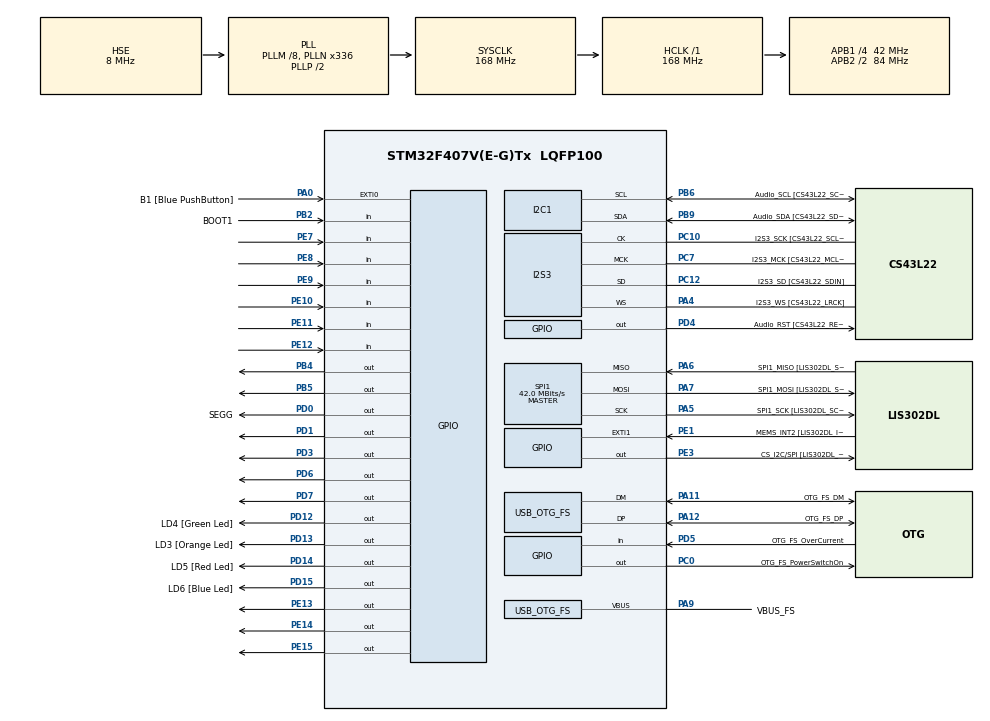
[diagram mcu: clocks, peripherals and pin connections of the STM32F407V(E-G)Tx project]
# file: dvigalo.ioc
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PA11.GPIO_Speed=GPIO_SPEED_FREQ_LOW
PD12.GPIO_Label=LD4 [Green Led]
PH0-OSC_IN.Signal=RCC_OSC_IN
PC10.GPIO_PuPd=GPIO_NOPULL
SPI1.VirtualType=VM_MASTER
PB10.GPIO_PuPd=GPIO_NOPULL
PA10.GPIO_PuPd=GPIO_NOPULL
PC12.Signal=I2S3_SD
PA14.GPIO_Label=SWCLK
PE8.GPIO_PuPd=GPIO_PULLDOWN
PE10.GPIO_PuPd=GPIO_PULLDOWN
PA6.GPIO_Label=SPI1_MISO [LIS302DL_SDO]
PB6.GPIO_Label=Audio_SCL [CS43L22_SCL]
PC15-OSC32_OUT.GPIO_Label=PC15-OSC32_OUT
PC3.GPIO_Speed=GPIO_SPEED_FREQ_LOW
RCC.SYSCLKSource=RCC_SYSCLKSOURCE_PLLCLK
PA6.GPIO_Mode=GPIO_MODE_AF_PP
PD14.GPIO_Speed=GPIO_SPEED_FREQ_LOW
PA4.Mode=Half_Duplex_Master
SPI1.Direction=SPI_DIRECTION_2LINES
I2S3.AudioFreq-Half_Duplex_Master=I2S_AUDIOFREQ_96K
PD4.Signal=GPIO_Output
RCC.APB2TimFreq_Value=168000000
PB6.Signal=I2C1_SCL
PC7.Signal=I2S3_MCK
PB6.Mode=I2C
SPI1.CalculateBaudRate=42.0 MBits/s
PC3.Signal=I2S2_SD
PD0.Signal=GPIO_Output
PE1.Signal=GPXTI1
USB_OTG_FS.phy_itface=HCD_PHY_EMBEDDED
PB2.Signal=GPIO_Input
I2S3.ErrorAudioFreq=-2.34 %
PE9.Signal=GPIO_Input
PA5.GPIO_PuPd=GPIO_NOPULL
I2S3.ErrorAudioFreq-Half_Duplex_Master=0.8 %
NVIC.TIM2_IRQn=true\:0\:0\:false\:false\:true\:true\:true
PD5.GPIO_Mode=GPIO_MODE_INPUT
PD14.GPIO_PuPd=GPIO_NOPULL
PE10.Signal=GPIO_Input
PB2.GPIO_PuPd=GPIO_NOPULL
SPI1.CalculateBaudRate-Full_Duplex_Master=42.0 MBits/s
Mcu.Package=LQFP100
PB9.Signal=I2C1_SDA
TIM2.Prescaler=250
PD12.Signal=GPIO_Output
PA10.Signal=USB_OTG_FS_ID
PB9.GPIO_PuPd=GPIO_NOPULL
RCC.APB2CLKDivider=RCC_HCLK_DIV2
RCC.APB1TimFreq_Value=84000000
PC12.GPIO_PuPd=GPIO_NOPULL
PA6.GPIO_Speed=GPIO_SPEED_FREQ_LOW
PA12.GPIO_PuPd=GPIO_NOPULL
PA4.GPIO_Label=I2S3_WS [CS43L22_LRCK]
PD15.Signal=GPIO_Output
PC0.PinState=GPIO_PIN_SET
PE12.GPIO_PuPd=GPIO_PULLDOWN
PA5.Mode=Full_Duplex_Master
I2S3.FullDuplexMode=I2S_FULLDUPLEXMODE_DISABLE
PA9.GPIO_Label=VBUS_FS
PB6.GPIO_PuPd=GPIO_NOPULL
PD3.Signal=GPIO_Output
PD7.Signal=GPIO_Output
PD1.Signal=GPIO_Output
PA11.GPIO_Label=OTG_FS_DM
PE1.GPIO_PuPd=GPIO_NOPULL
PC0.Signal=GPIO_Output
RCC.APB1CLKDivider=RCC_HCLK_DIV4
PC14-OSC32_IN.Signal=RCC_OSC32_IN
PA0-WKUP.GPIO_ModeDefaultEXTI=GPIO_MODE_EVT_RISING
PA0-WKUP.GPIO_Label=B1 [Blue PushButton]
PA0-WKUP.Signal=GPXTI0
USB_HOST0.BSP.STBoard=false
PC10.GPIO_Mode=GPIO_MODE_AF_PP
PB10.GPIO_Mode=GPIO_MODE_AF_PP
PA9.Signal=USB_OTG_FS_VBUS
I2S3.VirtualMode=I2S_MODE_MASTER
PC7.GPIO_PuPd=GPIO_NOPULL
PB10.Signal=I2S2_CK
PA5.Signal=SPI1_SCK
PC12.Mode=Half_Duplex_Master
PE1.GPIO_Label=MEMS_INT2 [LIS302DL_INT2]
USB_HOST.VirtualModeFS=Cdc
PA7.GPIO_Speed=GPIO_SPEED_FREQ_LOW
PB2.GPIO_Mode=GPIO_MODE_INPUT
PE14.Signal=GPIO_Output
PE15.Signal=GPIO_Output
PE8.Signal=GPIO_Input
SPI1.Mode=SPI_MODE_MASTER
PD4.GPIO_Speed=GPIO_SPEED_FREQ_LOW
PE3.GPIO_PuPd=GPIO_NOPULL
PH1-OSC_OUT.GPIO_Label=PH1-OSC_OUT
TIM2.Period=42000
PA13.Mode=Serial_Wire
PC7.GPIO_Label=I2S3_MCK [CS43L22_MCLK]
PA4.Signal=I2S3_WS
PC12.GPIO_Mode=GPIO_MODE_AF_PP
PB5.Signal=GPIO_Output
PA5.GPIO_Label=SPI1_SCK [LIS302DL_SCL/SPC]
PE3.GPIO_Speed=GPIO_SPEED_FREQ_LOW
PC12.GPIO_Label=I2S3_SD [CS43L22_SDIN]
PA11.Signal=USB_OTG_FS_DM
ProjectManager.HeapSize=0x200
NVIC.PriorityGroup=NVIC_PRIORITYGROUP_0
PE3.Signal=GPIO_Output
TIM2.AutoReloadPreload=TIM_AUTORELOAD_PRELOAD_ENABLE
PC3.GPIO_Label=PDM_OUT [MP45DT02_DOUT]
PA0-WKUP.GPIO_PuPd=GPIO_NOPULL
I2S3.Instance=SPI$Index
PB6.GPIO_Speed=GPIO_SPEED_FREQ_LOW
SPI1.BaudRatePrescaler-Full_Duplex_Master=SPI_BAUDRATEPRESCALER_2
USB_HOST0.BSP.mode=Output
Mcu.Family=STM32F4
PC3.GPIO_Mode=GPIO_MODE_AF_PP
PA6.Mode=Full_Duplex_Master
PE7.GPIO_PuPd=GPIO_PULLDOWN
RCC.CortexFreq_Value=168000000
PB10.GPIO_Speed=GPIO_SPEED_FREQ_LOW
PB6.GPIO_Mode=GPIO_MODE_AF_OD
PD15.GPIO_Speed=GPIO_SPEED_FREQ_LOW
PC10.Signal=I2S3_CK
PA7.GPIO_Mode=GPIO_MODE_AF_PP
PC0.GPIO_Label=OTG_FS_PowerSwitchOn
PD0.GPIO_Label=SEGG
PA11.Mode=Host_Only
PC10.GPIO_Speed=GPIO_SPEED_FREQ_LOW
PA11.GPIO_PuPd=GPIO_NOPULL
ProjectManager.StackSize=0x400
SPI1.Mode-Full_Duplex_Master=SPI_MODE_MASTER
PD13.Signal=GPIO_Output
PA12.Signal=USB_OTG_FS_DP
PE11.GPIO_PuPd=GPIO_PULLDOWN
RCC.HCLKFreq_Value=168000000
USB_HOST0.BSP.ip=GPIO
RCC.AHBFreq_Value=168000000
PH0-OSC_IN.Mode=HSE-External-Oscillator
PH0-OSC_IN.GPIO_Label=PH0-OSC_IN
PA9.GPIO_Mode=GPIO_MODE_INPUT
RCC.HSE_VALUE=8000000
PA4.GPIO_PuPd=GPIO_NOPULL
PA4.GPIO_Speed=GPIO_SPEED_FREQ_LOW
PA6.GPIO_PuPd=GPIO_NOPULL
PE13.Signal=GPIO_Output
PC14-OSC32_IN.Mode=LSE-External-Oscillator
PD0.PinState=GPIO_PIN_RESET
PA14.Mode=Serial_Wire
PA10.GPIO_Label=OTG_FS_ID
PC7.GPIO_Mode=GPIO_MODE_AF_PP
USB_HOST0.BSP.i2creg=0
PH1-OSC_OUT.Mode=HSE-External-Oscillator
USB_HOST0.BSP.i2caddr=0
PD13.GPIO_Label=LD3 [Orange Led]
PA6.Signal=SPI1_MISO
USB_HOST.USBH_HandleTypeDef-CDC_FS=hUsbHostFS
PD5.GPIO_Label=OTG_FS_OverCurrent
NVIC.OTG_FS_IRQn=true\:0\:0\:false\:false\:true\:true\:true
PD15.GPIO_PuPd=GPIO_NOPULL
USB_OTG_FS.VirtualMode=Host_Only
PA10.GPIO_Speed=GPIO_SPEED_FREQ_LOW
USB_HOST0.BSP.name=Drive_VBUS_FS
PB9.GPIO_Speed=GPIO_SPEED_FREQ_LOW
PC14-OSC32_IN.GPIO_Label=PC14-OSC32_IN
PE7.Signal=GPIO_Input
PC0.GPIO_PuPd=GPIO_NOPULL
PD6.Signal=GPIO_Output
PA12.GPIO_Speed=GPIO_SPEED_FREQ_LOW
PB4.Signal=GPIO_Output
PB3.GPIO_Label=SWO
PC15-OSC32_OUT.Mode=LSE-External-Oscillator
PD12.GPIO_Speed=GPIO_SPEED_FREQ_LOW
PD15.GPIO_Label=LD6 [Blue Led]
PA7.Mode=Full_Duplex_Master
PB9.GPIO_Label=Audio_SDA [CS43L22_SDA]
PC10.GPIO_Label=I2S3_SCK [CS43L22_SCLK]
USB_HOST0.BSP.solution=PC0
PC10.Mode=Half_Duplex_Master
USB_HOST.BSP.number=1
PD5.Signal=GPIO_Input
PE1.GPIO_ModeDefaultEXTI=GPIO_MODE_EVT_RISING
PA9.GPIO_PuPd=GPIO_NOPULL
PA12.GPIO_Label=OTG_FS_DP
PA10.GPIO_Mode=GPIO_MODE_AF_PP
PA13.Signal=SYS_JTMS-SWDIO
PD4.GPIO_PuPd=GPIO_NOPULL
PA9.Mode=Activate_VBUS
PC0.GPIO_Speed=GPIO_SPEED_FREQ_LOW
I2S3.RealAudioFreq-Half_Duplex_Master=96.774 KHz
ProjectManager.TargetToolchain=STM32CubeIDE
PB10.GPIO_Label=CLK_IN [MP45DT02_CLK]
PB9.Mode=I2C
PE11.Signal=GPIO_Input
PC15-OSC32_OUT.Signal=RCC_OSC32_OUT
PA7.GPIO_PuPd=GPIO_NOPULL
board=STM32F407G-DISC1
PD13.GPIO_Speed=GPIO_SPEED_FREQ_LOW
PC7.GPIO_Speed=GPIO_SPEED_FREQ_LOW
RCC.VCOOutputFreq_Value=336000000
PB9.GPIO_Mode=GPIO_MODE_AF_OD
PA12.GPIO_Mode=GPIO_MODE_AF_PP
PA4.GPIO_Mode=GPIO_MODE_AF_PP
RCC.APB2Freq_Value=84000000
USB_HOST0.BSP.api=Unknown
VP_TIM2_VS_ClockSourceINT.Mode=Internal
PD4.GPIO_Label=Audio_RST [CS43L22_RESET]
PH1-OSC_OUT.Signal=RCC_OSC_OUT
PD13.GPIO_PuPd=GPIO_NOPULL
PD5.GPIO_PuPd=GPIO_NOPULL
PD14.GPIO_Label=LD5 [Red Led]
Mcu.Name=STM32F407V(E-G)Tx
PE12.Signal=GPIO_Input
PA13.GPIO_Label=SWDIO
PD14.Signal=GPIO_Output
RCC.48MHZClocksFreq_Value=48000000
PB3.Signal=SYS_JTDO-SWO
RCC.SYSCLKFreq_VALUE=168000000
PA7.GPIO_Label=SPI1_MOSI [LIS302DL_SDA/SDI/SDO]
PA12.Mode=Host_Only
VP_USB_HOST_VS_USB_HOST_CDC_FS.Mode=CDC_FS
PA14.Signal=SYS_JTCK-SWCLK
PB2.GPIO_Label=BOOT1
RCC.HSI_VALUE=16000000
PA5.GPIO_Speed=GPIO_SPEED_FREQ_LOW
RCC.PLLQ=7
I2S3.RealAudioFreq=93.75 KHz
RCC.PLLM=8
RCC.PLLN=336
PE3.GPIO_Label=CS_I2C/SPI [LIS302DL_CS_I2C/SPI]
PC7.Mode=Master_Clock_Activated
PA11.GPIO_Mode=GPIO_MODE_AF_PP
RCC.APB1Freq_Value=42000000
PA5.GPIO_Mode=GPIO_MODE_AF_PP
PC12.GPIO_Speed=GPIO_SPEED_FREQ_LOW
PC3.GPIO_PuPd=GPIO_NOPULL
PD12.GPIO_PuPd=GPIO_NOPULL
PA7.Signal=SPI1_MOSI
USB_HOST0.BSP.instance=PC0
PE9.GPIO_PuPd=GPIO_PULLDOWN

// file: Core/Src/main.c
/* USER CODE BEGIN Header */
/**
  ******************************************************************************
  * @file           : main.c
  * @brief          : Main program body
  ******************************************************************************
  * @attention
  *
  * <h2><center>&copy; Copyright (c) 2021 STMicroelectronics.
  * All rights reserved.</center></h2>
  *
  * This software component is licensed by ST under Ultimate Liberty license
  * SLA0044, the "License"; You may not use this file except in compliance with
  * the License. You may obtain a copy of the License at:
  *                             www.st.com/SLA0044
  *
  ******************************************************************************
  */
/* USER CODE END Header */
#include "main.h"
#include "usb_host.h"

/* USER CODE BEGIN Includes */
#include <string.h>
#include <stdio.h>
/* USER CODE END Includes */

I2C_HandleTypeDef hi2c1;

I2S_HandleTypeDef hi2s3;

SPI_HandleTypeDef hspi1;

TIM_HandleTypeDef htim2;

/* USER CODE BEGIN PV */
static const uint8_t UNO_ADDR = 0x14 << 1; // naslov arduina 0x14, a uporabim 8bit naslov (shift)
uint8_t floorsGoingUp = 0;					// nadstropja, ki želijo gor
uint8_t floorsGoingDown = 0;				// nadstropja, ki želijo dol
int direction = 1;							// smer potovanja: -1 dol, 1 gor
uint8_t pos = 0;							// trenutno nadstropje dvigala
int openDoorsRequest = 0;							// zahteva za odprtje vrat
int closeDoorsRequest = 0;							// zahteva za zaprtje vrat
/* USER CODE END PV */

void SystemClock_Config(void);
static void MX_GPIO_Init(void);
static void MX_I2C1_Init(void);
static void MX_I2S3_Init(void);
static void MX_SPI1_Init(void);
static void MX_TIM2_Init(void);
void MX_USB_HOST_Process(void);

/* USER CODE BEGIN 0 */

// handlerji prekinitev časovnika
void HAL_TIM_PeriodElapsedCallback(TIM_HandleTypeDef* htim2)
{
	// handler za prekinitev časovnika vsakih 0.5s - komunikacija z arduinom
	HAL_StatusTypeDef ret;
	uint8_t buf[2];

	buf[0] = pos;
	// pošlji trenutno nadstropje in zahtevaj vrednost gumbov od Arduina
	ret = HAL_I2C_Master_Transmit(&hi2c1, UNO_ADDR, buf, 1, HAL_MAX_DELAY);
	if (ret == HAL_OK) {
		ret = HAL_I2C_Master_Receive(&hi2c1, UNO_ADDR, buf, 2, HAL_MAX_DELAY);
		if (ret == HAL_OK) {
			HAL_GPIO_TogglePin(GPIOD, GPIO_PIN_15);
			floorsGoingUp |= buf[0];
			floorsGoingDown |= buf[1];
		}
	}
}

// preveri če prišel zahtevek za odpiranje vrat
int needToOpenDoors() {
	return openDoorsRequest || (direction == 1 && (floorsGoingUp & (1 << pos)))
			|| (direction == -1 && (floorsGoingDown & (1 << pos)));
}

// preveri če prišel zahtevek za zapiranje vrat
int needToCloseDoors() {
	return closeDoorsRequest;
}

// vrni prvi prižgani bit (LSB->MSB)
int getLowestSetBit(uint8_t num, int min) {
	if (num == 0) {
		return -1;
	} else  {
		for(int i=min; i<255; i++) {
			if ((num >> i) & 1){
				return i;
			}
		}
		return -1;
	}
}

// vrni zadnji prižgani bit (LSB->MSB)
int getHighestSetBit(uint8_t num, int max) {
	if (num == 0) {
		return -1;
	}

	int result = -1;
	for(int i=0; i<max; i++) {
		if ((num >> i) & 1){
			if (i > result) {
				result = i;
			}
		}
	}

	return result;
}

// preberi gumbe
void readButtons() {
	// preberi stanja gumbov
	int floor0In = HAL_GPIO_ReadPin(GPIOE, GPIO_PIN_7);
	int floor1In = HAL_GPIO_ReadPin(GPIOE, GPIO_PIN_8);
	int floor2In = HAL_GPIO_ReadPin(GPIOE, GPIO_PIN_9);
	int floor3In = HAL_GPIO_ReadPin(GPIOE, GPIO_PIN_10);
	openDoorsRequest  |= HAL_GPIO_ReadPin(GPIOE, GPIO_PIN_11);
	closeDoorsRequest |= HAL_GPIO_ReadPin(GPIOE, GPIO_PIN_12);

	// dodaj zahtevke za nadstropja
	floorsGoingUp 	|= floor0In;
	floorsGoingDown |= floor0In;
	floorsGoingUp 	|= (floor1In << 1);
	floorsGoingDown |= (floor1In << 1);
	floorsGoingUp 	|= (floor2In << 2);
	floorsGoingDown |= (floor2In << 2);
	floorsGoingUp 	|= (floor3In << 3);
	floorsGoingDown |= (floor3In << 3);
}

// odpri vrata dvigala
void openDoors() {
	// pobriši zahtevke za to nadstropje
	floorsGoingUp &= ~(1 << pos);
	floorsGoingDown &= ~(1 << pos);
	// pobriši zahtevek za odprtje vrat
	openDoorsRequest = 0;

	// odpri vrata (prižgi zeleno LED)
	HAL_GPIO_WritePin(GPIOE, GPIO_PIN_13, GPIO_PIN_RESET);
	HAL_GPIO_WritePin(GPIOE, GPIO_PIN_14, GPIO_PIN_SET);

	// počakaj 2.5s
	for (int i = 0; i < 250; i++) {
		// preveri gumbe (za morebitne nove zahtevke za vrata
		readButtons();

		// preveri če nov zahtevek
		if (needToOpenDoors() || needToCloseDoors()) {
			// začni znova
			return;
		}
		HAL_Delay(10);
	}

	// zapri vrata po 2.5s
	closeDoorsRequest = 1;
}

// zapri vrata dvigala
void closeDoors() {
	// zapri vrata (prižgi rdečo LED)
	HAL_GPIO_WritePin(GPIOE, GPIO_PIN_13, GPIO_PIN_SET);
	HAL_GPIO_WritePin(GPIOE, GPIO_PIN_14, GPIO_PIN_RESET);

	// pobriši zahtevek za zaprtje vrat
	closeDoorsRequest = 0;
}

// izpiši nadstropje na 7-seg zaslon
void printPos() {
	// 1. nadstropje
	if ( pos == 1) {
		HAL_GPIO_WritePin(GPIOD, GPIO_PIN_0, GPIO_PIN_RESET);
		HAL_GPIO_WritePin(GPIOD, GPIO_PIN_1, GPIO_PIN_RESET);
		HAL_GPIO_WritePin(GPIOB, GPIO_PIN_5, GPIO_PIN_RESET);
		HAL_GPIO_WritePin(GPIOD, GPIO_PIN_3, GPIO_PIN_SET);
		HAL_GPIO_WritePin(GPIOD, GPIO_PIN_6, GPIO_PIN_SET);
		HAL_GPIO_WritePin(GPIOD, GPIO_PIN_7, GPIO_PIN_RESET);
		HAL_GPIO_WritePin(GPIOB, GPIO_PIN_4, GPIO_PIN_RESET);
	}
	// 2. nadstropje
	else if (pos == 2) {
		HAL_GPIO_WritePin(GPIOD, GPIO_PIN_0, GPIO_PIN_SET);
		HAL_GPIO_WritePin(GPIOD, GPIO_PIN_1, GPIO_PIN_RESET);
		HAL_GPIO_WritePin(GPIOB, GPIO_PIN_5, GPIO_PIN_SET);
		HAL_GPIO_WritePin(GPIOD, GPIO_PIN_3, GPIO_PIN_SET);
		HAL_GPIO_WritePin(GPIOD, GPIO_PIN_6, GPIO_PIN_RESET);
		HAL_GPIO_WritePin(GPIOD, GPIO_PIN_7, GPIO_PIN_SET);
		HAL_GPIO_WritePin(GPIOB, GPIO_PIN_4, GPIO_PIN_SET);
	}
	// 2. nadstropje
	else if (pos == 3)  {
		HAL_GPIO_WritePin(GPIOD, GPIO_PIN_0, GPIO_PIN_SET);
		HAL_GPIO_WritePin(GPIOD, GPIO_PIN_1, GPIO_PIN_RESET);
		HAL_GPIO_WritePin(GPIOB, GPIO_PIN_5, GPIO_PIN_SET);
		HAL_GPIO_WritePin(GPIOD, GPIO_PIN_3, GPIO_PIN_SET);
		HAL_GPIO_WritePin(GPIOD, GPIO_PIN_6, GPIO_PIN_SET);
		HAL_GPIO_WritePin(GPIOD, GPIO_PIN_7, GPIO_PIN_SET);
		HAL_GPIO_WritePin(GPIOB, GPIO_PIN_4, GPIO_PIN_RESET);
	}
	// 3. nadstropje
	else {
		HAL_GPIO_WritePin(GPIOD, GPIO_PIN_0, GPIO_PIN_RESET);
		HAL_GPIO_WritePin(GPIOD, GPIO_PIN_1, GPIO_PIN_SET);
		HAL_GPIO_WritePin(GPIOB, GPIO_PIN_5, GPIO_PIN_SET);
		HAL_GPIO_WritePin(GPIOD, GPIO_PIN_3, GPIO_PIN_SET);
		HAL_GPIO_WritePin(GPIOD, GPIO_PIN_6, GPIO_PIN_SET);
		HAL_GPIO_WritePin(GPIOD, GPIO_PIN_7, GPIO_PIN_SET);
		HAL_GPIO_WritePin(GPIOB, GPIO_PIN_4, GPIO_PIN_SET);
	}
}

// premakni dvigalo
void moveElevator() {
	// zapri vrata
	closeDoors();

	// počakaj 1.5s
	for (int i = 0; i < 150; i++) {
		// med delayam preverjaj stanje gumbov
		readButtons();
		HAL_Delay(10);
	}

	// premakni v pravo smer
	if (direction == 1) {
		pos++;
	} else {
		pos--;
	}

	// izpiši nadstropje
	printPos();
}

// predvajaj piskač za 0.2s
void playBuzzer() {
	HAL_GPIO_WritePin(GPIOE, GPIO_PIN_15, GPIO_PIN_SET);
	HAL_Delay(200);
	HAL_GPIO_WritePin(GPIOE, GPIO_PIN_15, GPIO_PIN_RESET);
}
/* USER CODE END 0 */

int main(void)
{

  /* MCU Configuration--------------------------------------------------------*/

  /* Reset of all peripherals, Initializes the Flash interface and the Systick. */
  HAL_Init();

  /* Configure the system clock */
  SystemClock_Config();

  /* Initialize all configured peripherals */
  MX_GPIO_Init();
  MX_I2C1_Init();
  MX_I2S3_Init();
  MX_SPI1_Init();
  MX_USB_HOST_Init();
  MX_TIM2_Init();
  /* USER CODE BEGIN 2 */
  //void SysTick_CallBack(void);
  // poženi časovnik komunikacije I2C
  HAL_TIM_Base_Start_IT(&htim2);

  // izpiši 0. nadstropje
  printPos();

  // zapri vrata dvigala
  closeDoors();
  /* USER CODE END 2 */

  /* Infinite loop */
  /* USER CODE BEGIN WHILE */
  while (1)
  {
	  // preveri zahtevke za vrata
	  if (needToOpenDoors()){
		  openDoors();
		  continue;
	  } else if (needToCloseDoors()){
		  closeDoors();
		  continue;
	  }

	  // dvigalo gre gor
	  if (direction == 1) {
		  // zahteva za gor na poti
		  if (getLowestSetBit(floorsGoingUp, pos) >= 0) {
			  moveElevator();
			  // če je zahteva od zunaj za gor, odpri vrata
			  if (floorsGoingUp & (1 << pos)) {
				  playBuzzer();
				  openDoors();
			  }
		  } else {
			  // nad dvigalom še zahteva za dol
			  if (getHighestSetBit(floorsGoingDown, 255) > pos) {
				  moveElevator();
			  } else {
				  // spremeni smer
				  direction = -1;
				  // če zahteva odpri vrata
				  if (floorsGoingDown & (1 << pos)){
					  playBuzzer();
				  	  openDoors();
				  }
			  }
		  }
	  }

	  // dvigalo gre dol
	  else if (direction == -1) {
		  // zahteva za dol na poti
		  if (getHighestSetBit(floorsGoingDown, pos) >= 0) {
			  moveElevator();
			  // če je zahteva od zunaj za dol, odpri vrata
			  if (floorsGoingDown & (1 << pos)) {
				  playBuzzer();
				  openDoors();
			  }
		  } else {
			  // pod dvigalom še zahteva za gor
			  if (getLowestSetBit(floorsGoingUp, 0) >= 0 && getLowestSetBit(floorsGoingUp, 0) < pos) {
				  moveElevator();
			  } else {
				  // spremeni smer
				  direction = 1;
				  // če zahteva odpri vrata
				  if (floorsGoingUp & (1 << pos)){
					  playBuzzer();
				  	  openDoors();
				  }
			  }
		  }
	  }

	  // preberi gumbe
	  readButtons();

    /* USER CODE END WHILE */
    MX_USB_HOST_Process();

  }
}

void SystemClock_Config(void)
{
  RCC_OscInitTypeDef RCC_OscInitStruct = {0};
  RCC_ClkInitTypeDef RCC_ClkInitStruct = {0};
  RCC_PeriphCLKInitTypeDef PeriphClkInitStruct = {0};

  /** Configure the main internal regulator output voltage
  */
  __HAL_RCC_PWR_CLK_ENABLE();
  __HAL_PWR_VOLTAGESCALING_CONFIG(PWR_REGULATOR_VOLTAGE_SCALE1);
  /** Initializes the RCC Oscillators according to the specified parameters
  * in the RCC_OscInitTypeDef structure.
  */
  RCC_OscInitStruct.OscillatorType = RCC_OSCILLATORTYPE_HSE;
  RCC_OscInitStruct.HSEState = RCC_HSE_ON;
  RCC_OscInitStruct.PLL.PLLState = RCC_PLL_ON;
  RCC_OscInitStruct.PLL.PLLSource = RCC_PLLSOURCE_HSE;
  RCC_OscInitStruct.PLL.PLLM = 8;
  RCC_OscInitStruct.PLL.PLLN = 336;
  RCC_OscInitStruct.PLL.PLLP = RCC_PLLP_DIV2;
  RCC_OscInitStruct.PLL.PLLQ = 7;
  if (HAL_RCC_OscConfig(&RCC_OscInitStruct) != HAL_OK)
  {
    Error_Handler();
  }
  /** Initializes the CPU, AHB and APB buses clocks
  */
  RCC_ClkInitStruct.ClockType = RCC_CLOCKTYPE_HCLK|RCC_CLOCKTYPE_SYSCLK
                              |RCC_CLOCKTYPE_PCLK1|RCC_CLOCKTYPE_PCLK2;
  RCC_ClkInitStruct.SYSCLKSource = RCC_SYSCLKSOURCE_PLLCLK;
  RCC_ClkInitStruct.AHBCLKDivider = RCC_SYSCLK_DIV1;
  RCC_ClkInitStruct.APB1CLKDivider = RCC_HCLK_DIV4;
  RCC_ClkInitStruct.APB2CLKDivider = RCC_HCLK_DIV2;

  if (HAL_RCC_ClockConfig(&RCC_ClkInitStruct, FLASH_LATENCY_5) != HAL_OK)
  {
    Error_Handler();
  }
  PeriphClkInitStruct.PeriphClockSelection = RCC_PERIPHCLK_I2S;
  PeriphClkInitStruct.PLLI2S.PLLI2SN = 192;
  PeriphClkInitStruct.PLLI2S.PLLI2SR = 2;
  if (HAL_RCCEx_PeriphCLKConfig(&PeriphClkInitStruct) != HAL_OK)
  {
    Error_Handler();
  }
}

static void MX_I2C1_Init(void)
{

  hi2c1.Instance = I2C1;
  hi2c1.Init.ClockSpeed = 100000;
  hi2c1.Init.DutyCycle = I2C_DUTYCYCLE_2;
  hi2c1.Init.OwnAddress1 = 0;
  hi2c1.Init.AddressingMode = I2C_ADDRESSINGMODE_7BIT;
  hi2c1.Init.DualAddressMode = I2C_DUALADDRESS_DISABLE;
  hi2c1.Init.OwnAddress2 = 0;
  hi2c1.Init.GeneralCallMode = I2C_GENERALCALL_DISABLE;
  hi2c1.Init.NoStretchMode = I2C_NOSTRETCH_DISABLE;
  if (HAL_I2C_Init(&hi2c1) != HAL_OK)
  {
    Error_Handler();
  }

}

static void MX_I2S3_Init(void)
{

  hi2s3.Instance = SPI3;
  hi2s3.Init.Mode = I2S_MODE_MASTER_TX;
  hi2s3.Init.Standard = I2S_STANDARD_PHILIPS;
  hi2s3.Init.DataFormat = I2S_DATAFORMAT_16B;
  hi2s3.Init.MCLKOutput = I2S_MCLKOUTPUT_ENABLE;
  hi2s3.Init.AudioFreq = I2S_AUDIOFREQ_96K;
  hi2s3.Init.CPOL = I2S_CPOL_LOW;
  hi2s3.Init.ClockSource = I2S_CLOCK_PLL;
  hi2s3.Init.FullDuplexMode = I2S_FULLDUPLEXMODE_DISABLE;
  if (HAL_I2S_Init(&hi2s3) != HAL_OK)
  {
    Error_Handler();
  }

}

static void MX_SPI1_Init(void)
{

  /* SPI1 parameter configuration*/
  hspi1.Instance = SPI1;
  hspi1.Init.Mode = SPI_MODE_MASTER;
  hspi1.Init.Direction = SPI_DIRECTION_2LINES;
  hspi1.Init.DataSize = SPI_DATASIZE_8BIT;
  hspi1.Init.CLKPolarity = SPI_POLARITY_LOW;
  hspi1.Init.CLKPhase = SPI_PHASE_1EDGE;
  hspi1.Init.NSS = SPI_NSS_SOFT;
  hspi1.Init.BaudRatePrescaler = SPI_BAUDRATEPRESCALER_2;
  hspi1.Init.FirstBit = SPI_FIRSTBIT_MSB;
  hspi1.Init.TIMode = SPI_TIMODE_DISABLE;
  hspi1.Init.CRCCalculation = SPI_CRCCALCULATION_DISABLE;
  hspi1.Init.CRCPolynomial = 10;
  if (HAL_SPI_Init(&hspi1) != HAL_OK)
  {
    Error_Handler();
  }

}

static void MX_TIM2_Init(void)
{

  TIM_ClockConfigTypeDef sClockSourceConfig = {0};
  TIM_MasterConfigTypeDef sMasterConfig = {0};

  htim2.Instance = TIM2;
  htim2.Init.Prescaler = 250;
  htim2.Init.CounterMode = TIM_COUNTERMODE_UP;
  htim2.Init.Period = 42000;
  htim2.Init.ClockDivision = TIM_CLOCKDIVISION_DIV1;
  htim2.Init.AutoReloadPreload = TIM_AUTORELOAD_PRELOAD_ENABLE;
  if (HAL_TIM_Base_Init(&htim2) != HAL_OK)
  {
    Error_Handler();
  }
  sClockSourceConfig.ClockSource = TIM_CLOCKSOURCE_INTERNAL;
  if (HAL_TIM_ConfigClockSource(&htim2, &sClockSourceConfig) != HAL_OK)
  {
    Error_Handler();
  }
  sMasterConfig.MasterOutputTrigger = TIM_TRGO_RESET;
  sMasterConfig.MasterSlaveMode = TIM_MASTERSLAVEMODE_DISABLE;
  if (HAL_TIMEx_MasterConfigSynchronization(&htim2, &sMasterConfig) != HAL_OK)
  {
    Error_Handler();
  }

}

static void MX_GPIO_Init(void)
{
  GPIO_InitTypeDef GPIO_InitStruct = {0};

  /* GPIO Ports Clock Enable */
  __HAL_RCC_GPIOE_CLK_ENABLE();
  __HAL_RCC_GPIOC_CLK_ENABLE();
  __HAL_RCC_GPIOH_CLK_ENABLE();
  __HAL_RCC_GPIOA_CLK_ENABLE();
  __HAL_RCC_GPIOB_CLK_ENABLE();
  __HAL_RCC_GPIOD_CLK_ENABLE();

  /*Configure GPIO pin Output Level */
  HAL_GPIO_WritePin(GPIOE, CS_I2C_SPI_Pin|GPIO_PIN_13|GPIO_PIN_14|GPIO_PIN_15, GPIO_PIN_RESET);

  /*Configure GPIO pin Output Level */
  HAL_GPIO_WritePin(OTG_FS_PowerSwitchOn_GPIO_Port, OTG_FS_PowerSwitchOn_Pin, GPIO_PIN_SET);

  /*Configure GPIO pin Output Level */
  HAL_GPIO_WritePin(GPIOD, LD4_Pin|LD3_Pin|LD5_Pin|LD6_Pin
                          |SEGG_Pin|GPIO_PIN_1|GPIO_PIN_3|Audio_RST_Pin
                          |GPIO_PIN_6|GPIO_PIN_7, GPIO_PIN_RESET);

  /*Configure GPIO pin Output Level */
  HAL_GPIO_WritePin(GPIOB, GPIO_PIN_4|GPIO_PIN_5, GPIO_PIN_RESET);

  /*Configure GPIO pins : CS_I2C_SPI_Pin PE13 PE14 PE15 */
  GPIO_InitStruct.Pin = CS_I2C_SPI_Pin|GPIO_PIN_13|GPIO_PIN_14|GPIO_PIN_15;
  GPIO_InitStruct.Mode = GPIO_MODE_OUTPUT_PP;
  GPIO_InitStruct.Pull = GPIO_NOPULL;
  GPIO_InitStruct.Speed = GPIO_SPEED_FREQ_LOW;
  HAL_GPIO_Init(GPIOE, &GPIO_InitStruct);

  /*Configure GPIO pin : OTG_FS_PowerSwitchOn_Pin */
  GPIO_InitStruct.Pin = OTG_FS_PowerSwitchOn_Pin;
  GPIO_InitStruct.Mode = GPIO_MODE_OUTPUT_PP;
  GPIO_InitStruct.Pull = GPIO_NOPULL;
  GPIO_InitStruct.Speed = GPIO_SPEED_FREQ_LOW;
  HAL_GPIO_Init(OTG_FS_PowerSwitchOn_GPIO_Port, &GPIO_InitStruct);

  /*Configure GPIO pin : PDM_OUT_Pin */
  GPIO_InitStruct.Pin = PDM_OUT_Pin;
  GPIO_InitStruct.Mode = GPIO_MODE_AF_PP;
  GPIO_InitStruct.Pull = GPIO_NOPULL;
  GPIO_InitStruct.Speed = GPIO_SPEED_FREQ_LOW;
  GPIO_InitStruct.Alternate = GPIO_AF5_SPI2;
  HAL_GPIO_Init(PDM_OUT_GPIO_Port, &GPIO_InitStruct);

  /*Configure GPIO pin : B1_Pin */
  GPIO_InitStruct.Pin = B1_Pin;
  GPIO_InitStruct.Mode = GPIO_MODE_EVT_RISING;
  GPIO_InitStruct.Pull = GPIO_NOPULL;
  HAL_GPIO_Init(B1_GPIO_Port, &GPIO_InitStruct);

  /*Configure GPIO pin : BOOT1_Pin */
  GPIO_InitStruct.Pin = BOOT1_Pin;
  GPIO_InitStruct.Mode = GPIO_MODE_INPUT;
  GPIO_InitStruct.Pull = GPIO_NOPULL;
  HAL_GPIO_Init(BOOT1_GPIO_Port, &GPIO_InitStruct);

  /*Configure GPIO pins : PE7 PE8 PE9 PE10
                           PE11 PE12 */
  GPIO_InitStruct.Pin = GPIO_PIN_7|GPIO_PIN_8|GPIO_PIN_9|GPIO_PIN_10
                          |GPIO_PIN_11|GPIO_PIN_12;
  GPIO_InitStruct.Mode = GPIO_MODE_INPUT;
  GPIO_InitStruct.Pull = GPIO_PULLDOWN;
  HAL_GPIO_Init(GPIOE, &GPIO_InitStruct);

  /*Configure GPIO pin : CLK_IN_Pin */
  GPIO_InitStruct.Pin = CLK_IN_Pin;
  GPIO_InitStruct.Mode = GPIO_MODE_AF_PP;
  GPIO_InitStruct.Pull = GPIO_NOPULL;
  GPIO_InitStruct.Speed = GPIO_SPEED_FREQ_LOW;
  GPIO_InitStruct.Alternate = GPIO_AF5_SPI2;
  HAL_GPIO_Init(CLK_IN_GPIO_Port, &GPIO_InitStruct);

  /*Configure GPIO pins : LD4_Pin LD3_Pin LD5_Pin LD6_Pin
                           SEGG_Pin PD1 PD3 Audio_RST_Pin
                           PD6 PD7 */
  GPIO_InitStruct.Pin = LD4_Pin|LD3_Pin|LD5_Pin|LD6_Pin
                          |SEGG_Pin|GPIO_PIN_1|GPIO_PIN_3|Audio_RST_Pin
                          |GPIO_PIN_6|GPIO_PIN_7;
  GPIO_InitStruct.Mode = GPIO_MODE_OUTPUT_PP;
  GPIO_InitStruct.Pull = GPIO_NOPULL;
  GPIO_InitStruct.Speed = GPIO_SPEED_FREQ_LOW;
  HAL_GPIO_Init(GPIOD, &GPIO_InitStruct);

  /*Configure GPIO pin : OTG_FS_OverCurrent_Pin */
  GPIO_InitStruct.Pin = OTG_FS_OverCurrent_Pin;
  GPIO_InitStruct.Mode = GPIO_MODE_INPUT;
  GPIO_InitStruct.Pull = GPIO_NOPULL;
  HAL_GPIO_Init(OTG_FS_OverCurrent_GPIO_Port, &GPIO_InitStruct);

  /*Configure GPIO pins : PB4 PB5 */
  GPIO_InitStruct.Pin = GPIO_PIN_4|GPIO_PIN_5;
  GPIO_InitStruct.Mode = GPIO_MODE_OUTPUT_PP;
  GPIO_InitStruct.Pull = GPIO_NOPULL;
  GPIO_InitStruct.Speed = GPIO_SPEED_FREQ_LOW;
  HAL_GPIO_Init(GPIOB, &GPIO_InitStruct);

  /*Configure GPIO pin : MEMS_INT2_Pin */
  GPIO_InitStruct.Pin = MEMS_INT2_Pin;
  GPIO_InitStruct.Mode = GPIO_MODE_EVT_RISING;
  GPIO_InitStruct.Pull = GPIO_NOPULL;
  HAL_GPIO_Init(MEMS_INT2_GPIO_Port, &GPIO_InitStruct);

}

void Error_Handler(void)
{
  __disable_irq();
  while (1)
  {
  }
}

/************************ (C) COPYRIGHT STMicroelectronics *****END OF FILE****/
